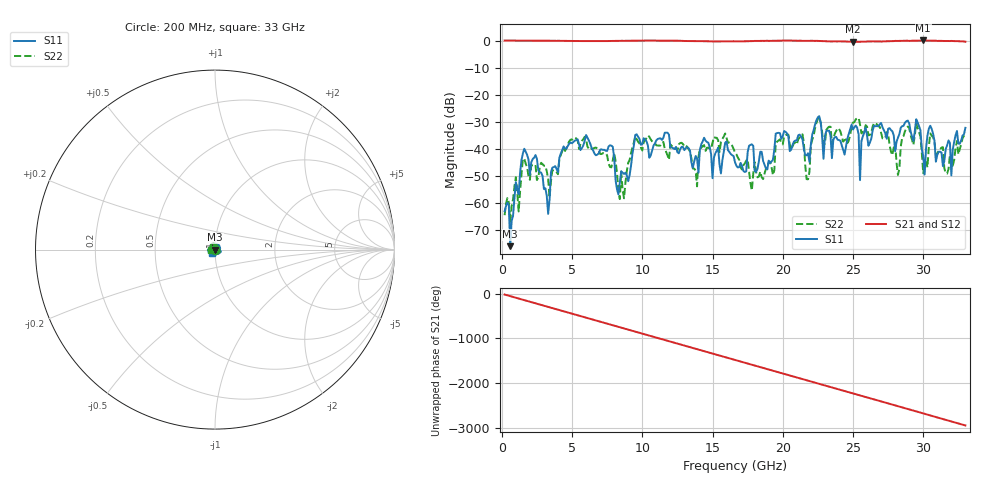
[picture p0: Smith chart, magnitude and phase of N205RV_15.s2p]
# GHZ S RI R 50
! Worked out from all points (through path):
!   329 points, 200 MHz to 33 GHz, reference 50 ohm
!   highest |S21| = 0.03 dB at 30 GHz (marker M1); lowest = -0.5 dB at 25 GHz (marker M2)
!   group delay of S21, straight-line fit = 248 ps
!   lowest |S11| = -76.0 dB at 600 MHz (marker M3), VSWR 1.00, Z = 50 + j0.000531 ohm
!   |S11| at or under -10 dB: start of sweep to end of sweep
!   |S22| runs from -67.0 to -28.3 dB; largest |S21 - S12| = 0.0019
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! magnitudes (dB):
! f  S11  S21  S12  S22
! 200 MHz  -63.1  0.0  0.0  -64.6
! 600 MHz  -76.0  0.0  0.0  -67.0
! 1.6 GHz  -40.0  0.0  0.0  -43.6
! 3.3 GHz  -64.1  -0.1  -0.1  -51.3
! 3.6 GHz  -47.0  -0.1  -0.1  -47.9
! 5.7 GHz  -39.8  -0.2  -0.2  -37.1
! 8 GHz  -43.3  -0.1  -0.1  -41.6
! 8.4 GHz  -52.5  -0.1  -0.1  -58.6
! 9.5 GHz  -34.9  -0.1  -0.1  -35.4
! 11.2 GHz  -36.2  0.0  0.0  -38.9
! 13.9 GHz  -43.6  -0.2  -0.2  -53.9
! 16.6 GHz  -45.0  -0.3  -0.3  -41.4
! 17.8 GHz  -38.4  -0.2  -0.2  -55.4
! 22.1 GHz  -34.7  -0.1  -0.1  -36.6
! 25 GHz  -32.9  -0.5  -0.5  -30.3
! 25.5 GHz  -51.6  -0.4  -0.4  -31.1
! 25.9 GHz  -32.1  -0.4  -0.4  -31.3
! 27.6 GHz  -32.4  -0.2  -0.2  -38.5
! 29.5 GHz  -29.1  -0.1  -0.1  -30.5
! 30 GHz  -42.9  0.0  0.0  -49.1
! 32 GHz  -49.9  -0.1  -0.1  -43.0
! 33 GHz  -32.3  -0.4  -0.4  -34.0
